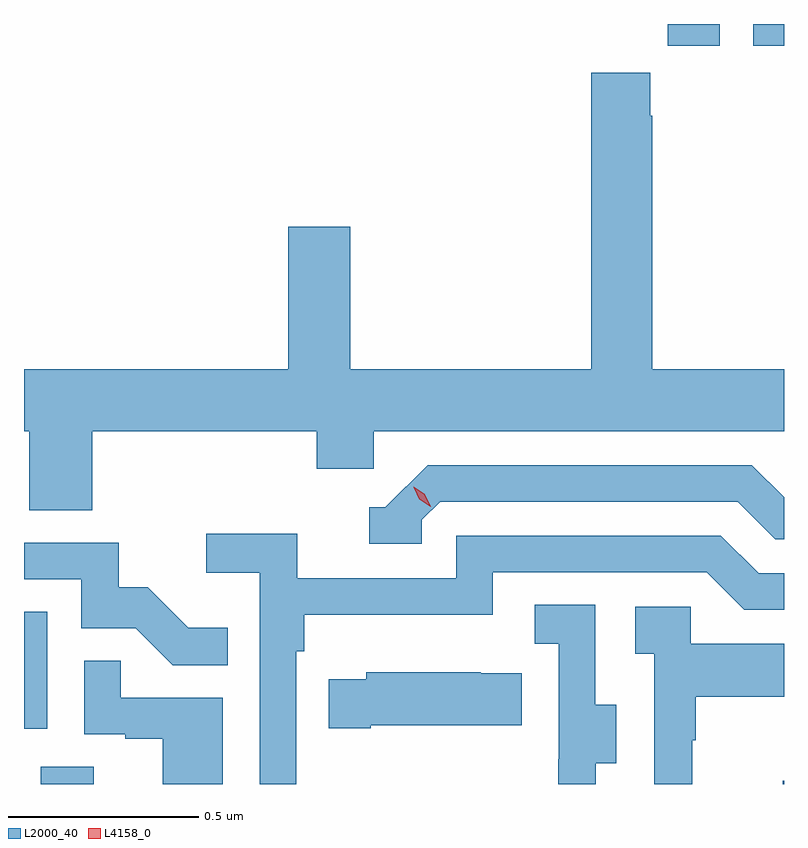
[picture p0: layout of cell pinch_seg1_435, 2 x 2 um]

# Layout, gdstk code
import gdstk
lib = gdstk.Library(unit=1e-6, precision=1e-09)
def R(c, l, rs):  # rectangles x0, y0, x1, y1
    for r in rs: c.add(gdstk.rectangle(r[:2], r[2:], *l))
def P(c, l, *ps):  # polygons
    for p in ps: c.add(gdstk.Polygon(p, *l))
L2000_40 = (2000, 40)
L4158_0 = (4158, 0)

pinch_seg1_435 = lib.new_cell('pinch_seg1_435')
R(pinch_seg1_435, L2000_40, [(931.589,537.484,931.729,537.53), (933.542,537.484,933.545,537.493), (931.545,537.63,931.606,537.937), (933.239,539.427,933.376,539.484), (933.464,539.427,933.545,539.484)])
P(pinch_seg1_435, L2000_40, [(931.724,538.412),(932.315,538.412),(932.315,538.314),(932.466,538.314),(932.466,538.412),(933.545,538.412),(933.545,538.576),(933.198,538.576),(933.198,539.243),(933.193,539.243),(933.193,539.356),(933.038,539.356),(933.038,538.576),(932.404,538.576),(932.404,538.951),(932.24,538.951),(932.24,538.576),(931.545,538.576),(931.545,538.412),(931.559,538.412),(931.559,538.204),(931.724,538.204)],
  [(932.592,538.179),(932.64,538.227),(933.423,538.227),(933.522,538.128),(933.545,538.128),(933.545,538.238),(933.46,538.323),(932.607,538.323),(932.496,538.212),(932.453,538.212),(932.453,538.116),(932.592,538.116)],
  [(932.262,537.833),(932.282,537.833),(932.282,537.929),(932.778,537.929),(932.778,538.041),(933.342,538.041),(933.441,537.942),(933.545,537.942),(933.545,538.038),(933.478,538.038),(933.379,538.137),(932.682,538.137),(932.682,538.026),(932.264,538.026),(932.264,538.142),(932.025,538.142),(932.025,538.04),(932.166,538.04),(932.166,537.484),(932.262,537.484)],
  [(932.081,537.895),(931.977,537.895),(931.87,538.002),(931.794,538.002),(931.794,538.119),(931.545,538.119),(931.545,538.023),(931.695,538.023),(931.695,537.894),(931.839,537.894),(931.937,537.796),(932.081,537.796)],
  [(933.049,537.538),(933.103,537.538),(933.103,537.693),(933.048,537.693),(933.048,537.956),(932.889,537.956),(932.889,537.853),(932.952,537.853),(932.952,537.549),(932.951,537.549),(932.951,537.484),(933.049,537.484)],
  [(933.303,537.599),(933.313,537.599),(933.313,537.713),(933.545,537.713),(933.545,537.853),(933.3,537.853),(933.3,537.951),(933.153,537.951),(933.153,537.827),(933.204,537.827),(933.204,537.484),(933.303,537.484)],
  [(932.068,537.711),(931.799,537.711),(931.799,537.809),(931.704,537.809),(931.704,537.615),(931.811,537.615),(931.811,537.603),(931.91,537.603),(931.91,537.484),(932.068,537.484)],
  [(932.458,537.638),(932.855,537.638),(932.855,537.775),(932.747,537.775),(932.747,537.778),(932.445,537.778),(932.445,537.76),(932.347,537.76),(932.347,537.631),(932.458,537.631)])
P(pinch_seg1_435, L4158_0, [(932.616,538.213),(932.585,538.233),(932.57,538.265),(932.57,538.266),(932.57,538.266),(932.6,538.246),(932.616,538.213),(932.616,538.213)])

lib.write_gds('pinch_seg1_435.gds')
